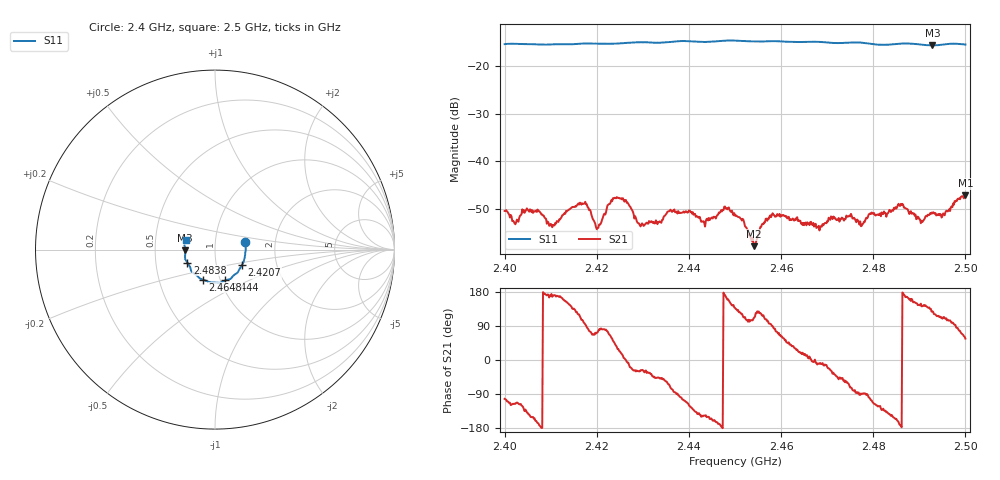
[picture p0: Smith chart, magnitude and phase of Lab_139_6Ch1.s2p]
# Hz S RI R 50
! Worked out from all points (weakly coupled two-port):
!   601 points, 2.4 GHz to 2.5 GHz, reference 50 ohm
!   highest |S21| = -47.19 dB at 2.5 GHz (marker M1); lowest = -57.9 dB at 2.4542 GHz (marker M2)
!   lowest |S11| = -15.6 dB at 2.4928 GHz (marker M3), VSWR 1.40, Z = 35.7 - j0.316 ohm
!   |S11| at or under -10 dB: start of sweep to end of sweep
!   S12 and S22 are empty: the file has one direction only
!   S11 on the Smith chart (normalised r, x): 2.4 GHz: 1.39, +0.12; 2.4207 GHz: 1.33, -0.24; 2.444 GHz: 1.05, -0.37; 2.4648 GHz: 0.83, -0.29; 2.4838 GHz: 0.73, -0.11; 2.5 GHz: 0.72, +0.08
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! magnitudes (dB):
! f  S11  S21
! 2.4 GHz  -15.3  -50.5
! 2.4025 GHz  -15.2  -52.9
! 2.4073 GHz  -15.4  -50.4
! 2.4103 GHz  -15.4  -53.9
! 2.4167 GHz  -15.2  -49.1
! 2.4207 GHz  -15.2  -53.4
! 2.4243 GHz  -15.2  -47.5
! 2.4292 GHz  -14.9  -53.1
! 2.4333 GHz  -15.0  -52.8
! 2.4363 GHz  -14.8  -50.7
! 2.444 GHz  -14.9  -52.1
! 2.4482 GHz  -14.6  -49.9
! 2.45 GHz  -14.6  -51.5
! 2.4542 GHz  -14.7  -57.9
! 2.458 GHz  -14.7  -51.3
! 2.4648 GHz  -14.9  -53.0
! 2.4667 GHz  -14.8  -53.3
! 2.4833 GHz  -15.4  -50.7
! 2.4838 GHz  -15.4  -50.7
! 2.4905 GHz  -15.4  -52.5
! 2.4928 GHz  -15.6  -51.0
! 2.5 GHz  -15.4  -47.2
